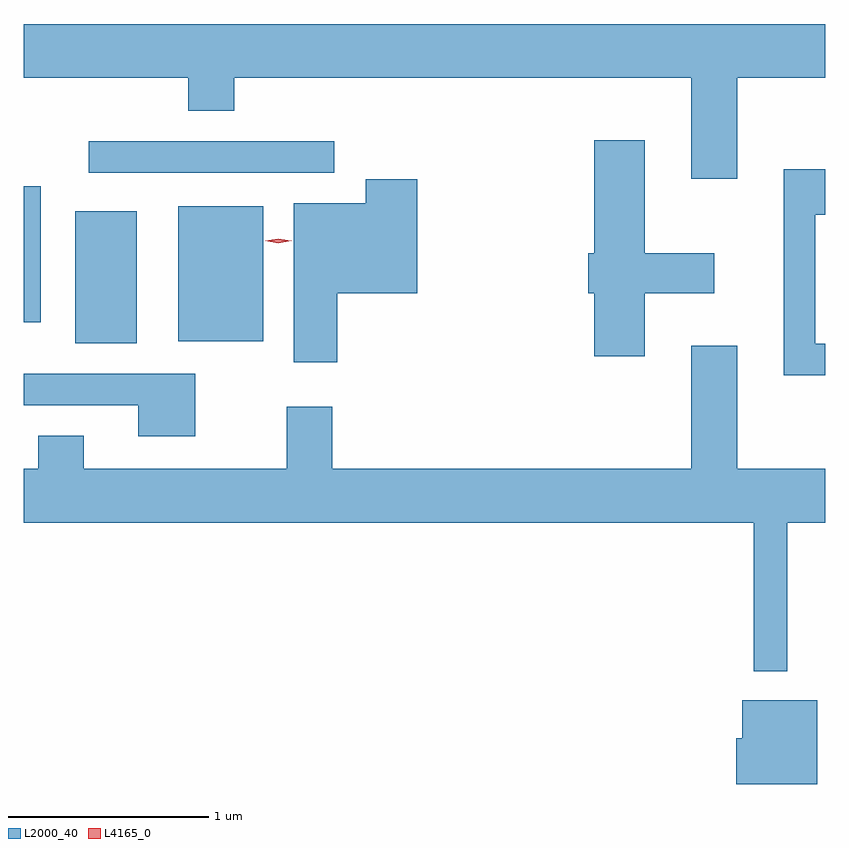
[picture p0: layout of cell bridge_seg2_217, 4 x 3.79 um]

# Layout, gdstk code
import gdstk
lib = gdstk.Library(unit=1e-6, precision=1e-09)
def R(c, l, rs):  # rectangles x0, y0, x1, y1
    for r in rs: c.add(gdstk.rectangle(r[:2], r[2:], *l))
def P(c, l, *ps):  # polygons
    for p in ps: c.add(gdstk.Polygon(p, *l))
L2000_40 = (2000, 40)
L4165_0 = (4165, 0)

bridge_seg2_217 = lib.new_cell('bridge_seg2_217')
R(bridge_seg2_217, L2000_40, [(604.906,1066.971,605.214,1067.629), (605.421,1066.981,605.844,1067.654), (604.649,1067.076,604.734,1067.754), (604.973,1067.821,606.198,1067.979)])
P(bridge_seg2_217, L2000_40, [(608.209,1068.296),(608.649,1068.296),(608.649,1068.564),(604.649,1068.564),(604.649,1068.296),(605.471,1068.296),(605.471,1068.131),(605.699,1068.131),(605.699,1068.296),(607.981,1068.296),(607.981,1067.791),(608.209,1067.791)],
  [(607.749,1067.221),(608.094,1067.221),(608.094,1067.419),(607.749,1067.419),(607.749,1067.984),(607.496,1067.984),(607.496,1067.419),(607.466,1067.419),(607.466,1067.221),(607.496,1067.221),(607.496,1066.906),(607.749,1066.906)],
  [(608.649,1066.969),(608.599,1066.969),(608.599,1067.611),(608.649,1067.611),(608.649,1067.839),(608.441,1067.839),(608.441,1066.811),(608.649,1066.811)],
  [(606.214,1067.221),(606.614,1067.221),(606.614,1067.789),(606.356,1067.789),(606.356,1067.669),(605.996,1067.669),(605.996,1066.876),(606.214,1066.876)],
  [(608.459,1066.076),(608.649,1066.076),(608.649,1066.344),(608.209,1066.344),(608.209,1066.959),(607.981,1066.959),(607.981,1066.344),(606.189,1066.344),(606.189,1066.654),(605.961,1066.654),(605.961,1066.344),(604.949,1066.344),(604.949,1066.509),(604.721,1066.509),(604.721,1066.344),(604.649,1066.344),(604.649,1066.076),(608.291,1066.076),(608.291,1065.333),(608.459,1065.333)],
  [(605.504,1066.819),(604.649,1066.819),(604.649,1066.661),(605.221,1066.661),(605.221,1066.506),(605.504,1066.506)],
  [(608.609,1065.189),(608.236,1065.189),(608.236,1064.999),(608.206,1064.999),(608.206,1064.771),(608.609,1064.771)])
P(bridge_seg2_217, L4165_0, [(605.92,1067.471),(605.854,1067.481),(605.854,1067.481),(605.854,1067.482),(605.92,1067.491),(605.985,1067.482),(605.986,1067.481),(605.985,1067.481)])

lib.write_gds('bridge_seg2_217.gds')
